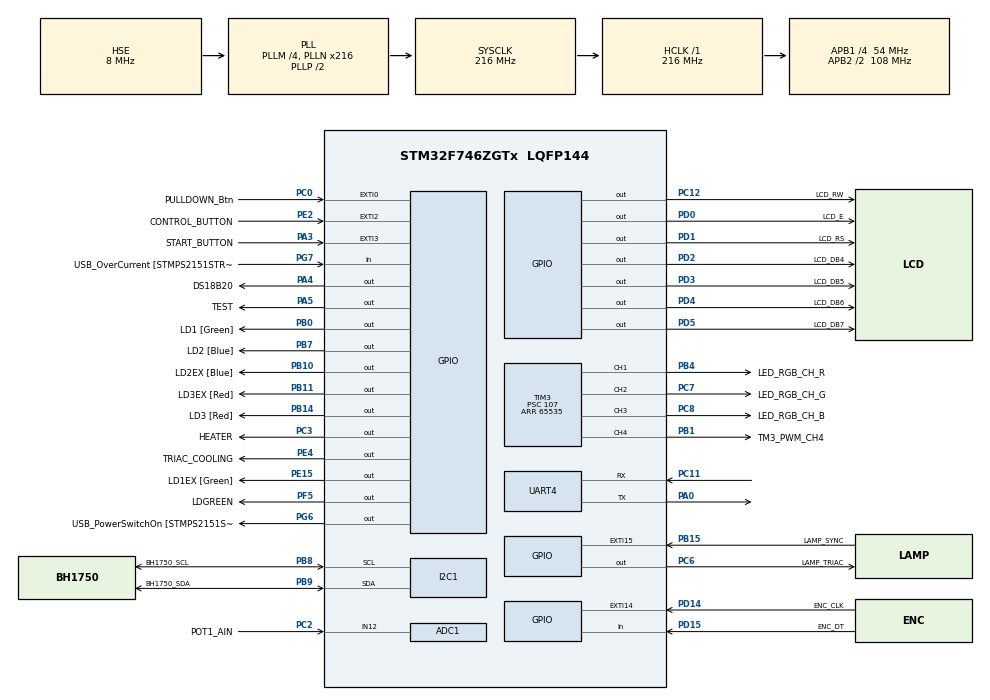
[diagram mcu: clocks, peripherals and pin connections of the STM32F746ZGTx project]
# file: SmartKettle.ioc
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ADC1.Channel-0\#ChannelRegularConversion=ADC_CHANNEL_12
ADC1.ClockPrescaler=ADC_CLOCK_SYNC_PCLK_DIV8
ADC1.NbrOfConversionFlag=1
ADC1.Rank-0\#ChannelRegularConversion=1
ADC1.SamplingTime-0\#ChannelRegularConversion=ADC_SAMPLETIME_480CYCLES
ADC1.master=1
I2C1.Timing=0x20404768
Mcu.Family=STM32F7
Mcu.Name=STM32F746ZGTx
Mcu.Package=LQFP144
NVIC.ADC_IRQn=true\:0\:0\:false\:false\:true\:true\:true\:true
NVIC.EXTI0_IRQn=true\:0\:0\:false\:false\:true\:true\:true\:true
NVIC.EXTI15_10_IRQn=true\:0\:0\:false\:false\:true\:true\:true\:true
NVIC.EXTI2_IRQn=true\:0\:0\:false\:false\:true\:true\:true\:true
NVIC.FLASH_IRQn=true\:0\:0\:false\:false\:true\:true\:true\:true
NVIC.FPU_IRQn=true\:0\:0\:false\:false\:true\:true\:false\:true
NVIC.I2C1_ER_IRQn=true\:0\:0\:false\:false\:true\:true\:true\:true
NVIC.I2C1_EV_IRQn=true\:0\:0\:false\:false\:true\:true\:true\:true
NVIC.PVD_IRQn=true\:0\:0\:false\:false\:true\:true\:true\:true
NVIC.PriorityGroup=NVIC_PRIORITYGROUP_4
NVIC.RCC_IRQn=true\:0\:0\:false\:false\:true\:true\:false\:true
NVIC.TIM2_IRQn=true\:0\:0\:false\:false\:true\:true\:true\:true
NVIC.TIM3_IRQn=true\:0\:0\:false\:false\:true\:true\:true\:true
NVIC.TIM4_IRQn=true\:0\:0\:false\:false\:true\:true\:true\:true
NVIC.UART4_IRQn=true\:0\:0\:false\:false\:true\:true\:true\:true
PA0/WKUP.Mode=Asynchronous
PA0/WKUP.Signal=UART4_TX
PA1.GPIO_Label=RMII_REF_CLK [LAN8742A-CZ-TR_REFCLK0]
PA1.Signal=ETH_REF_CLK
PA10.GPIO_Label=USB_ID
PA10.Signal=USB_OTG_FS_ID
PA11.GPIO_Label=USB_DM
PA11.Signal=USB_OTG_FS_DM
PA12.GPIO_Label=USB_DP
PA12.Signal=USB_OTG_FS_DP
PA13.GPIO_Label=TMS
PA13.Mode=Serial_Wire
PA13.Signal=SYS_JTMS-SWDIO
PA14.GPIO_Label=TCK
PA14.Mode=Serial_Wire
PA14.Signal=SYS_JTCK-SWCLK
PA2.GPIO_Label=RMII_MDIO [LAN8742A-CZ-TR_MDIO]
PA2.Signal=ETH_MDIO
PA3.GPIO_Label=START_BUTTON
PA3.Signal=GPXTI3
PA4.GPIO_Label=DS18B20
PA4.Signal=GPIO_Output
PA5.GPIO_Label=TEST
PA5.Signal=GPIO_Output
PA8.GPIO_Label=USB_SOF [TP1]
PA8.Signal=USB_OTG_FS_SOF
PA9.GPIO_Label=USB_VBUS
PA9.Signal=USB_OTG_FS_VBUS
PB0.GPIO_Label=LD1 [Green]
PB0.Signal=GPIO_Output
PB1.GPIO_Label=TM3_PWM_CH4
PB1.Signal=S_TIM3_CH4
PB10.GPIO_Label=LD2EX [Blue]
PB10.Signal=GPIO_Output
PB11.GPIO_Label=LD3EX [Red]
PB11.Signal=GPIO_Output
PB13.GPIO_Label=RMII_TXD1 [LAN8742A-CZ-TR_TXD1]
PB13.Signal=ETH_TXD1
PB14.GPIO_Label=LD3 [Red]
PB14.Signal=GPIO_Output
PB15.GPIO_Label=LAMP_SYNC
PB15.Signal=GPXTI15
PB3.GPIO_Label=SW0
PB3.Signal=SYS_JTDO-SWO
PB4.GPIO_Label=LED_RGB_CH_R
PB4.Signal=S_TIM3_CH1
PB7.GPIO_Label=LD2 [Blue]
PB7.Signal=GPIO_Output
PB8.GPIO_Label=BH1750_SCL
PB8.GPIO_Pu=GPIO_PULLUP
PB8.Mode=I2C
PB8.Signal=I2C1_SCL
PB9.GPIO_Label=BH1750_SDA
PB9.GPIO_Pu=GPIO_PULLUP
PB9.Mode=I2C
PB9.Signal=I2C1_SDA
PC0.GPIO_Label=PULLDOWN_Btn
PC0.Signal=GPXTI0
PC1.GPIO_Label=RMII_MDC [LAN8742A-CZ-TR_MDC]
PC1.Signal=ETH_MDC
PC11.Mode=Asynchronous
PC11.Signal=UART4_RX
PC12.GPIO_Label=LCD_RW
PC12.Signal=GPIO_Output
PC14/OSC32_IN.Mode=LSE-External-Oscillator
PC14/OSC32_IN.Signal=RCC_OSC32_IN
PC15/OSC32_OUT.Mode=LSE-External-Oscillator
PC15/OSC32_OUT.Signal=RCC_OSC32_OUT
PC2.GPIO_Label=POT1_AIN
PC2.Signal=ADCx_IN12
PC3.GPIO_Label=HEATER
PC3.Signal=GPIO_Output
PC4.GPIO_Label=RMII_RXD0 [LAN8742A-CZ-TR_RXD0]
PC4.Signal=ETH_RXD0
PC5.GPIO_Label=RMII_RXD1 [LAN8742A-CZ-TR_RXD1]
PC5.Signal=ETH_RXD1
PC6.GPIO_Label=LAMP_TRIAC
PC6.GPIO_Speed=GPIO_SPEED_FREQ_HIGH
PC6.Signal=GPIO_Output
PC7.GPIO_Label=LED_RGB_CH_G
PC7.Signal=S_TIM3_CH2
PC8.GPIO_Label=LED_RGB_CH_B
PC8.Signal=S_TIM3_CH3
PD0.GPIO_Label=LCD_E
PD0.Signal=GPIO_Output
PD1.GPIO_Label=LCD_RS
PD1.Signal=GPIO_Output
PD12.GPIO_Label=ENC_TIM_DT
PD12.Signal=S_TIM4_CH1
PD13.GPIO_Label=ENC_TIM_CLK
PD13.Signal=S_TIM4_CH2
PD14.GPIO_Label=ENC_CLK
PD14.GPIO_ModeDefaultEXTI=GPIO_MODE_IT_FALLING
PD14.Signal=GPXTI14
PD15.GPIO_Label=ENC_DT
PD15.Signal=GPIO_Input
PD2.GPIO_Label=LCD_DB4
PD2.Signal=GPIO_Output
PD3.GPIO_Label=LCD_DB5
PD3.Signal=GPIO_Output
PD4.GPIO_Label=LCD_DB6
PD4.Signal=GPIO_Output
PD5.GPIO_Label=LCD_DB7
PD5.Signal=GPIO_Output
PE15.GPIO_Label=LD1EX [Green]
PE15.Signal=GPIO_Output
PE2.GPIO_Label=CONTROL_BUTTON
PE2.GPIO_ModeDefaultEXTI=GPIO_MODE_IT_RISING
PE2.GPIO_PuPd=GPIO_PULLDOWN
PE2.Signal=GPXTI2
PE4.GPIO_Label=TRIAC_COOLING
PE4.Signal=GPIO_Output
PF5.GPIO_Label=LDGREEN
PF5.Signal=GPIO_Output
PG11.GPIO_Label=RMII_TX_EN [LAN8742A-CZ-TR_TXEN]
PG11.Signal=ETH_TX_EN
PG13.GPIO_Label=RMII_TXD0 [LAN8742A-CZ-TR_TXD0]
PG13.Signal=ETH_TXD0
PG6.GPIO_Label=USB_PowerSwitchOn [STMPS2151STR_EN]
PG6.Signal=GPIO_Output
PG7.GPIO_Label=USB_OverCurrent [STMPS2151STR_FAULT]
PG7.Signal=GPIO_Input
PH0/OSC_IN.GPIO_Label=MCO [STM32F103CBT6_PA8]
PH0/OSC_IN.Mode=HSE-External-Clock-Source
PH0/OSC_IN.Signal=RCC_OSC_IN
PH1/OSC_OUT.Mode=HSE-External-Clock-Source
PH1/OSC_OUT.Signal=RCC_OSC_OUT
ProjectManager.HeapSize=0x200
ProjectManager.StackSize=0x400
ProjectManager.TargetToolchain=STM32CubeIDE
RCC.48MHZClocksFreq_Value=24000000
RCC.AHBFreq_Value=216000000
RCC.APB1CLKDivider=RCC_HCLK_DIV4
RCC.APB1Freq_Value=54000000
RCC.APB1TimFreq_Value=108000000
RCC.APB2CLKDivider=RCC_HCLK_DIV2
RCC.APB2Freq_Value=108000000
RCC.APB2TimFreq_Value=216000000
RCC.CortexFreq_Value=216000000
RCC.HCLKFreq_Value=216000000
RCC.HSE_VALUE=8000000
RCC.HSI_VALUE=16000000
RCC.PLLM=4
RCC.PLLMUL=RCC_PLL_MUL9
RCC.PLLN=216
RCC.PLLQ=3
RCC.PLLSourceVirtual=RCC_PLLSOURCE_HSE
RCC.PRESCALERUSB=RCC_USBCLKSOURCE_PLL_DIV1_5
RCC.SYSCLKFreq_VALUE=216000000
RCC.SYSCLKSource=RCC_SYSCLKSOURCE_PLLCLK
RCC.SYSCLKSourceVirtual=RCC_SYSCLKSOURCE_PLLCLK
RCC.USBFreq_Value=144000000
RCC.VCOOutputFreq_Value=432000000
SH.ADCx_IN12.0=ADC1_IN12,IN12
SH.S_TIM3_CH1.0=TIM3_CH1,PWM Generation1 CH1
SH.S_TIM3_CH2.0=TIM3_CH2,PWM Generation2 CH2
SH.S_TIM3_CH3.0=TIM3_CH3,PWM Generation3 CH3
SH.S_TIM3_CH4.0=TIM3_CH4,PWM Generation4 CH4
SH.S_TIM4_CH1.0=TIM4_CH1
SH.S_TIM4_CH2.0=TIM4_CH2
TIM2.Period=29999
TIM2.Prescaler=7199
TIM3.Channel-PWM\ Generation1\ CH1=TIM_CHANNEL_1
TIM3.Channel-PWM\ Generation2\ CH2=TIM_CHANNEL_2
TIM3.Channel-PWM\ Generation3\ CH3=TIM_CHANNEL_3
TIM3.Channel-PWM\ Generation4\ CH4=TIM_CHANNEL_4
TIM3.Period=65535
TIM3.Prescaler=107
TIM3.Pulse-PWM\ Generation2\ CH2=0
TIM3.Pulse-PWM\ Generation3\ CH3=0
TIM4.Period=65500
TIM4.Prescaler=107
VP_TIM2_VS_ClockSourceINT.Mode=Internal
VP_TIM3_VS_ClockSourceINT.Mode=Internal
VP_TIM4_VS_ClockSourceINT.Mode=Internal
board=NUCLEO-F746ZG

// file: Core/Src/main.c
/* USER CODE BEGIN Header */
/**
  ******************************************************************************
  * @file           : main.c
  * @brief          : Main program body
  ******************************************************************************
  * @attention
  *
  * <h2><center>&copy; Copyright (c) 2024 STMicroelectronics.
  * All rights reserved.</center></h2>
  *
  * This software component is licensed by ST under BSD 3-Clause license,
  * the "License"; You may not use this file except in compliance with the
  * License. You may obtain a copy of the License at:
  *                        opensource.org/licenses/BSD-3-Clause
  *
  ******************************************************************************
  */
/* USER CODE END Header */

#include "main.h"
#include "adc.h"
#include "i2c.h"
#include "tim.h"
#include "usart.h"
#include "gpio.h"
#include "stdlib.h"
#include "string.h"

/* USER CODE BEGIN Includes */
#include "onewire.h"
#include "ds18b20.h"
#include "LCD_HD44780.h"
#include "CommunicationSequence.h"
#include "CommunicationData.h"
/* USER CODE END Includes */

/* USER CODE BEGIN PV */

/*!
 *LCD Display chars arrays
 */
char measure_temperature_message[64];
char adjust_temperature_message[64];

/*Data exchange with RPI structures */

/* Communication process data */
process ProcessData;

/* Communication process input image */
inputData InputData;

/* Communication process output image */
outputData OutputData;

 /*ADC constans
 */
const uint32_t ADC_REG_MAX = 0xfff; // 12-bits
const float ADC_VOLTAGE_MAX = 3.3; // [V]

/*!
 *ADC Conversion results
 */
uint32_t ADC_measurment = 0; //ADC Register value
float ADC_voltage = 0;
uint32_t ADC_voltage_mV = 0;
 //Edge detector
/*!
 *Edge detectors
 */
unsigned char main_edge_detector = 0;
unsigned char usart_edge_detector = 0;
unsigned int count_to_sec = 0;

int edge_count = 0;//Spare variable for debugging purpose

/*!
 *Temperature adjustment
 */
int temperature_adjust = 0;

int temp_counter_x= 0;

int test_change = 0;

float target_temperature = 0.0;

int temperature_usart_adjust = 0;//temperature usart adjust

float temperature;//Tmperature Measurment

float temperature_offset = 7.0;//Temperature  heating up offset

int usart_temperature = 0;//Sending temperature in serial port

/* USER CODE END PV */

void SystemClock_Config(void);

/* USER CODE BEGIN 0 */

/*!
 *Start button and temperature control button interrupt callback
 */

void HAL_GPIO_EXTI_Callback(uint16_t GPIO_Pin){ //interrupt handler
    if(GPIO_Pin == START_BUTTON_Pin){

    	  if(main_edge_detector)
    	  {
    		  main_edge_detector=0;
    	  }
    	  else
    	  {
    		  main_edge_detector=1;
    		  edge_count++;
    	  }

    }
    if(GPIO_Pin == CONTROL_BUTTON_Pin){

     	  if(usart_edge_detector)
     	  {
     		 usart_edge_detector=0;
     	  }
     	  else
     	  {
     		 usart_edge_detector=1;
     		 edge_count++;
     	  }
     }
}

void HAL_UART_RxCpltCallback(UART_HandleTypeDef *huart)
{

  if(huart->Instance == UART4)
  {
	  if (ProcessData.SequenceStep == 100 || ProcessData.SequenceStep == 300 || ProcessData.SequenceStep == 400)
	  	  {
		  	  HAL_UART_Receive_IT(&huart4,(uint8_t*)(ProcessData.InputFrame),63);
	  	  }
  }
}

/* USER CODE END 0 */

int main(void)
{

  /* MCU Configuration--------------------------------------------------------*/

  /* Reset of all peripherals, Initializes the Flash interface and the Systick. */
  HAL_Init();

  /* Configure the system clock */
  SystemClock_Config();

  /* Initialize all configured peripherals */
  MX_GPIO_Init();
  MX_TIM2_Init();
  MX_TIM3_Init();
  MX_TIM4_Init();
  MX_I2C1_Init();
  MX_ADC1_Init();
  MX_UART4_Init();
  /* USER CODE BEGIN 2 */

  HAL_TIM_Base_Start(&htim3);//Timer init in normal mode
  HAL_TIM_Base_Start_IT(&htim2);//Timer init int interruption mode

  LCD_Init();//LCD Init

  DS18B20_Init(DS18B20_Resolution_12bits);//Temperature sensor resolution initialization adjust

  /*!
   *Serial ports initialization
   */
  HAL_StatusTypeDef rx_status = ERROR;

  HAL_UART_Receive_IT(&huart4,(uint8_t*)(ProcessData.InputFrame),63);

  HAL_ADC_Start(&hadc1);//Start ADC in blocking mode

  //Debug variables
  int DataRxCount = huart4.RxXferCount;
  int DataRxSize = huart4.RxXferSize;
  uint8_t* DataRxPtr = huart4.pRxBuffPtr;

  /* USER CODE END 2 */

  /* Infinite loop */
  while (1)
  {

    /* USER CODE BEGIN 3 */

	  //Reading sensor adjustment
	  DS18B20_ReadAll();
	  DS18B20_StartAll();

	  	 /*!
		  *ADC read voltage measurment
		  */
	  	 if(HAL_ADC_PollForConversion(&hadc1,100) == HAL_OK)
	  	 {
	  		 ADC_measurment = HAL_ADC_GetValue(&hadc1);
	  	 }
		//transform ADC_measurment to V and mV
	  	 ADC_voltage = ((float)ADC_measurment / (float)ADC_REG_MAX) * ADC_VOLTAGE_MAX;
	  	 ADC_voltage_mV = (uint32_t)(1000.0*ADC_voltage);

	  	 //Calculating temperature adjust measurment
	  	 if(usart_edge_detector)
	  	 {
	  		temperature_adjust = ADC_voltage_mV/30;
	  	 }
	  	 else
	  	 {
	  		 temperature_adjust = temperature_usart_adjust;
	  	 }

	  	 //Additional temperature adjust value scalling
	  	 if(temperature_adjust > 100)
	  	 {
	  		 temperature_adjust = 100;
	  	 }

	  	 //Calculating temperature adjustment to string variable
	  	 sprintf(adjust_temperature_message,"Temp: %i Oc",temperature_adjust);

	  	 HAL_ADC_Start(&hadc1);

		//save what will be write on LCD
		if(DS18B20_GetTemperature(0, &temperature))
			{
				sprintf(measure_temperature_message,"Temp: %.3f Oc",temperature);
				OutputData.ActualTemperature = temperature;
			}

		//display on LCD values of temperature
	    if(main_edge_detector)
	    {
			LCD_Cls();
			//checking what type of temperature will be display - from potentiometer or serial port

			if(usart_edge_detector)
			{
				LCD_Locate(0,0);
				LCD_String("ADJ TEMP POT:");
			}
			else
			{
				LCD_Locate(0,0);
				LCD_String("ADJ TEMP USART:");
			}
			//displaying value of temperature in same line
			LCD_Locate(0,1);
			LCD_String(adjust_temperature_message);

			//Mapping value of temperature to target variable
	    }
	    else
	    {
			//Only reading current temperature state
			LCD_Cls();
			LCD_Locate(0,0);
			LCD_String("Obecna temp:");
			LCD_Locate(0,1);
			LCD_String(measure_temperature_message);
	    }

	  	//Target temperature with float conversion and hysteresis addition
		if(main_edge_detector)
		{
			target_temperature = (float)(temperature_adjust-3.0);
		}

		/*!
		 *Main temperature controlling system logic
		 *
		 *if target temperature is bigger than current temperature turn on water heater and triac cooler
		 *else turn off water heater and triac cooler
		 */
		if((target_temperature > temperature) && main_edge_detector == 0)
		{
			//Turn on heating system
			HAL_GPIO_WritePin(HEATER_GPIO_Port, HEATER_Pin, 1);
			//Turn oN triack cooler fan
			HAL_GPIO_WritePin(TRIAC_COOLING_GPIO_Port, TRIAC_COOLING_Pin, 1);
			//Turn of green led indicator
			HAL_GPIO_WritePin(LDGREEN_GPIO_Port, LDGREEN_Pin, 0);
		}
		else
		{
			//Turn off heating system
			HAL_GPIO_WritePin(HEATER_GPIO_Port, HEATER_Pin, 0);
			//Turn off triack cooler fan
			HAL_GPIO_WritePin(TRIAC_COOLING_GPIO_Port, TRIAC_COOLING_Pin, 0);
			//Turn on green led indicator
			HAL_GPIO_WritePin(LDGREEN_GPIO_Port, LDGREEN_Pin, 1);
		}

		//Communication sequence
		CommunicationSequence(&ProcessData, &InputData, &OutputData, &huart4);

		HAL_Delay(10);
  }
  /* USER CODE END 3 */
}

void SystemClock_Config(void)
{
  RCC_OscInitTypeDef RCC_OscInitStruct = {0};
  RCC_ClkInitTypeDef RCC_ClkInitStruct = {0};

  /** Configure LSE Drive Capability
  */
  HAL_PWR_EnableBkUpAccess();

  /** Configure the main internal regulator output voltage
  */
  __HAL_RCC_PWR_CLK_ENABLE();
  __HAL_PWR_VOLTAGESCALING_CONFIG(PWR_REGULATOR_VOLTAGE_SCALE1);

  /** Initializes the RCC Oscillators according to the specified parameters
  * in the RCC_OscInitTypeDef structure.
  */
  RCC_OscInitStruct.OscillatorType = RCC_OSCILLATORTYPE_HSE;
  RCC_OscInitStruct.HSEState = RCC_HSE_BYPASS;
  RCC_OscInitStruct.PLL.PLLState = RCC_PLL_ON;
  RCC_OscInitStruct.PLL.PLLSource = RCC_PLLSOURCE_HSE;
  RCC_OscInitStruct.PLL.PLLM = 4;
  RCC_OscInitStruct.PLL.PLLN = 216;
  RCC_OscInitStruct.PLL.PLLP = RCC_PLLP_DIV2;
  RCC_OscInitStruct.PLL.PLLQ = 3;
  if (HAL_RCC_OscConfig(&RCC_OscInitStruct) != HAL_OK)
  {
    Error_Handler();
  }

  /** Activate the Over-Drive mode
  */
  if (HAL_PWREx_EnableOverDrive() != HAL_OK)
  {
    Error_Handler();
  }

  /** Initializes the CPU, AHB and APB buses clocks
  */
  RCC_ClkInitStruct.ClockType = RCC_CLOCKTYPE_HCLK|RCC_CLOCKTYPE_SYSCLK
                              |RCC_CLOCKTYPE_PCLK1|RCC_CLOCKTYPE_PCLK2;
  RCC_ClkInitStruct.SYSCLKSource = RCC_SYSCLKSOURCE_PLLCLK;
  RCC_ClkInitStruct.AHBCLKDivider = RCC_SYSCLK_DIV1;
  RCC_ClkInitStruct.APB1CLKDivider = RCC_HCLK_DIV4;
  RCC_ClkInitStruct.APB2CLKDivider = RCC_HCLK_DIV2;

  if (HAL_RCC_ClockConfig(&RCC_ClkInitStruct, FLASH_LATENCY_7) != HAL_OK)
  {
    Error_Handler();
  }
}

void Error_Handler(void)
{
}
